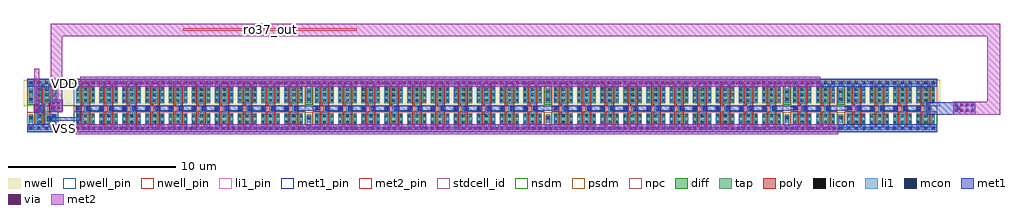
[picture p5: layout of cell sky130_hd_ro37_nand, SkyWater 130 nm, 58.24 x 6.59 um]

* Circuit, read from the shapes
.subckt sky130_hd_ro37_nand VDD VSS ro37_ena ro37_out
XM1 n1 ro37_ena VSS VSS sky130_fd_pr__nfet_01v8 w=0.65 l=0.15
XM2 sky130_hd_inv_1_6/A ro37_out n1 VSS sky130_fd_pr__nfet_01v8 w=0.65 l=0.15
XM3 sky130_hd_inv_1_7/A sky130_hd_inv_1_6/A VSS VSS sky130_fd_pr__nfet_01v8 w=0.65 l=0.15 m=2
XM4 sky130_hd_inv_1_8/A sky130_hd_inv_1_7/A VSS VSS sky130_fd_pr__nfet_01v8 w=0.65 l=0.15 m=2
XM5 sky130_hd_inv_1_9/A sky130_hd_inv_1_8/A VSS VSS sky130_fd_pr__nfet_01v8 w=0.65 l=0.15 m=2
XM6 sky130_hd_inv_1_10/A sky130_hd_inv_1_9/A VSS VSS sky130_fd_pr__nfet_01v8 w=0.65 l=0.15 m=2
XM7 sky130_hd_inv_1_11/A sky130_hd_inv_1_10/A VSS VSS sky130_fd_pr__nfet_01v8 w=0.65 l=0.15 m=2
XM8 sky130_hd_inv_1_12/A sky130_hd_inv_1_11/A VSS VSS sky130_fd_pr__nfet_01v8 w=0.65 l=0.15 m=2
XM9 sky130_hd_inv_1_13/A sky130_hd_inv_1_12/A VSS VSS sky130_fd_pr__nfet_01v8 w=0.65 l=0.15 m=2
XM10 sky130_hd_inv_1_14/A sky130_hd_inv_1_13/A VSS VSS sky130_fd_pr__nfet_01v8 w=0.65 l=0.15 m=2
XM11 sky130_hd_inv_1_15/A sky130_hd_inv_1_14/A VSS VSS sky130_fd_pr__nfet_01v8 w=0.65 l=0.15 m=2
XM12 sky130_hd_inv_1_16/A sky130_hd_inv_1_15/A VSS VSS sky130_fd_pr__nfet_01v8 w=0.65 l=0.15 m=2
XM13 sky130_hd_inv_1_17/A sky130_hd_inv_1_16/A VSS VSS sky130_fd_pr__nfet_01v8 w=0.65 l=0.15 m=2
XM14 sky130_hd_inv_1_18/A sky130_hd_inv_1_17/A VSS VSS sky130_fd_pr__nfet_01v8 w=0.65 l=0.15 m=2
XM15 sky130_hd_inv_1_19/A sky130_hd_inv_1_18/A VSS VSS sky130_fd_pr__nfet_01v8 w=0.65 l=0.15 m=2
XM16 sky130_hd_inv_1_20/A sky130_hd_inv_1_19/A VSS VSS sky130_fd_pr__nfet_01v8 w=0.65 l=0.15 m=2
XM17 sky130_hd_inv_1_21/A sky130_hd_inv_1_20/A VSS VSS sky130_fd_pr__nfet_01v8 w=0.65 l=0.15 m=2
XM18 sky130_hd_inv_1_22/A sky130_hd_inv_1_21/A VSS VSS sky130_fd_pr__nfet_01v8 w=0.65 l=0.15 m=2
XM19 sky130_hd_inv_1_23/A sky130_hd_inv_1_22/A VSS VSS sky130_fd_pr__nfet_01v8 w=0.65 l=0.15 m=2
XM20 sky130_hd_inv_1_24/A sky130_hd_inv_1_23/A VSS VSS sky130_fd_pr__nfet_01v8 w=0.65 l=0.15 m=2
XM21 sky130_hd_inv_1_25/A sky130_hd_inv_1_24/A VSS VSS sky130_fd_pr__nfet_01v8 w=0.65 l=0.15 m=2
XM22 sky130_hd_inv_1_26/A sky130_hd_inv_1_25/A VSS VSS sky130_fd_pr__nfet_01v8 w=0.65 l=0.15 m=2
XM23 sky130_hd_inv_1_27/A sky130_hd_inv_1_26/A VSS VSS sky130_fd_pr__nfet_01v8 w=0.65 l=0.15 m=2
XM24 sky130_hd_inv_1_28/A sky130_hd_inv_1_27/A VSS VSS sky130_fd_pr__nfet_01v8 w=0.65 l=0.15 m=2
XM25 sky130_hd_inv_1_29/A sky130_hd_inv_1_28/A VSS VSS sky130_fd_pr__nfet_01v8 w=0.65 l=0.15 m=2
XM26 sky130_hd_inv_1_30/A sky130_hd_inv_1_29/A VSS VSS sky130_fd_pr__nfet_01v8 w=0.65 l=0.15 m=2
XM27 sky130_hd_inv_1_31/A sky130_hd_inv_1_30/A VSS VSS sky130_fd_pr__nfet_01v8 w=0.65 l=0.15 m=2
XM28 sky130_hd_inv_1_32/A sky130_hd_inv_1_31/A VSS VSS sky130_fd_pr__nfet_01v8 w=0.65 l=0.15 m=2
XM29 sky130_hd_inv_1_33/A sky130_hd_inv_1_32/A VSS VSS sky130_fd_pr__nfet_01v8 w=0.65 l=0.15 m=2
XM30 sky130_hd_inv_1_34/A sky130_hd_inv_1_33/A VSS VSS sky130_fd_pr__nfet_01v8 w=0.65 l=0.15 m=2
XM31 sky130_hd_inv_1_35/A sky130_hd_inv_1_34/A VSS VSS sky130_fd_pr__nfet_01v8 w=0.65 l=0.15 m=2
XM32 sky130_hd_inv_1_36/A sky130_hd_inv_1_35/A VSS VSS sky130_fd_pr__nfet_01v8 w=0.65 l=0.15 m=2
XM33 sky130_hd_inv_1_37/A sky130_hd_inv_1_36/A VSS VSS sky130_fd_pr__nfet_01v8 w=0.65 l=0.15 m=2
XM34 sky130_hd_inv_1_38/A sky130_hd_inv_1_37/A VSS VSS sky130_fd_pr__nfet_01v8 w=0.65 l=0.15 m=2
XM35 sky130_hd_inv_1_39/A sky130_hd_inv_1_38/A VSS VSS sky130_fd_pr__nfet_01v8 w=0.65 l=0.15 m=2
XM36 sky130_hd_inv_1_40/A sky130_hd_inv_1_39/A VSS VSS sky130_fd_pr__nfet_01v8 w=0.65 l=0.15 m=2
XM37 sky130_hd_inv_1_41/A sky130_hd_inv_1_40/A VSS VSS sky130_fd_pr__nfet_01v8 w=0.65 l=0.15 m=2
XM38 ro37_out sky130_hd_inv_1_41/A VSS VSS sky130_fd_pr__nfet_01v8 w=0.65 l=0.15 m=2
XM39 sky130_hd_inv_1_6/A ro37_ena VDD VDD sky130_fd_pr__pfet_01v8 w=1 l=0.15
XM40 VDD ro37_out sky130_hd_inv_1_6/A VDD sky130_fd_pr__pfet_01v8 w=1 l=0.15
XM41 sky130_hd_inv_1_7/A sky130_hd_inv_1_6/A VDD VDD sky130_fd_pr__pfet_01v8 w=1 l=0.15 m=2
XM42 sky130_hd_inv_1_8/A sky130_hd_inv_1_7/A VDD VDD sky130_fd_pr__pfet_01v8 w=1 l=0.15 m=2
XM43 sky130_hd_inv_1_9/A sky130_hd_inv_1_8/A VDD VDD sky130_fd_pr__pfet_01v8 w=1 l=0.15 m=2
XM44 sky130_hd_inv_1_10/A sky130_hd_inv_1_9/A VDD VDD sky130_fd_pr__pfet_01v8 w=1 l=0.15 m=2
XM45 sky130_hd_inv_1_11/A sky130_hd_inv_1_10/A VDD VDD sky130_fd_pr__pfet_01v8 w=1 l=0.15 m=2
XM46 sky130_hd_inv_1_12/A sky130_hd_inv_1_11/A VDD VDD sky130_fd_pr__pfet_01v8 w=1 l=0.15 m=2
XM47 sky130_hd_inv_1_13/A sky130_hd_inv_1_12/A VDD VDD sky130_fd_pr__pfet_01v8 w=1 l=0.15 m=2
XM48 sky130_hd_inv_1_14/A sky130_hd_inv_1_13/A VDD VDD sky130_fd_pr__pfet_01v8 w=1 l=0.15 m=2
XM49 sky130_hd_inv_1_15/A sky130_hd_inv_1_14/A VDD VDD sky130_fd_pr__pfet_01v8 w=1 l=0.15 m=2
XM50 sky130_hd_inv_1_16/A sky130_hd_inv_1_15/A VDD VDD sky130_fd_pr__pfet_01v8 w=1 l=0.15 m=2
XM51 sky130_hd_inv_1_17/A sky130_hd_inv_1_16/A VDD VDD sky130_fd_pr__pfet_01v8 w=1 l=0.15 m=2
XM52 sky130_hd_inv_1_18/A sky130_hd_inv_1_17/A VDD VDD sky130_fd_pr__pfet_01v8 w=1 l=0.15 m=2
XM53 sky130_hd_inv_1_19/A sky130_hd_inv_1_18/A VDD VDD sky130_fd_pr__pfet_01v8 w=1 l=0.15 m=2
XM54 sky130_hd_inv_1_20/A sky130_hd_inv_1_19/A VDD VDD sky130_fd_pr__pfet_01v8 w=1 l=0.15 m=2
XM55 sky130_hd_inv_1_21/A sky130_hd_inv_1_20/A VDD VDD sky130_fd_pr__pfet_01v8 w=1 l=0.15 m=2
XM56 sky130_hd_inv_1_22/A sky130_hd_inv_1_21/A VDD VDD sky130_fd_pr__pfet_01v8 w=1 l=0.15 m=2
XM57 sky130_hd_inv_1_23/A sky130_hd_inv_1_22/A VDD VDD sky130_fd_pr__pfet_01v8 w=1 l=0.15 m=2
XM58 sky130_hd_inv_1_24/A sky130_hd_inv_1_23/A VDD VDD sky130_fd_pr__pfet_01v8 w=1 l=0.15 m=2
XM59 sky130_hd_inv_1_25/A sky130_hd_inv_1_24/A VDD VDD sky130_fd_pr__pfet_01v8 w=1 l=0.15 m=2
XM60 sky130_hd_inv_1_26/A sky130_hd_inv_1_25/A VDD VDD sky130_fd_pr__pfet_01v8 w=1 l=0.15 m=2
XM61 sky130_hd_inv_1_27/A sky130_hd_inv_1_26/A VDD VDD sky130_fd_pr__pfet_01v8 w=1 l=0.15 m=2
XM62 sky130_hd_inv_1_28/A sky130_hd_inv_1_27/A VDD VDD sky130_fd_pr__pfet_01v8 w=1 l=0.15 m=2
XM63 sky130_hd_inv_1_29/A sky130_hd_inv_1_28/A VDD VDD sky130_fd_pr__pfet_01v8 w=1 l=0.15 m=2
XM64 sky130_hd_inv_1_30/A sky130_hd_inv_1_29/A VDD VDD sky130_fd_pr__pfet_01v8 w=1 l=0.15 m=2
XM65 sky130_hd_inv_1_31/A sky130_hd_inv_1_30/A VDD VDD sky130_fd_pr__pfet_01v8 w=1 l=0.15 m=2
XM66 sky130_hd_inv_1_32/A sky130_hd_inv_1_31/A VDD VDD sky130_fd_pr__pfet_01v8 w=1 l=0.15 m=2
XM67 sky130_hd_inv_1_33/A sky130_hd_inv_1_32/A VDD VDD sky130_fd_pr__pfet_01v8 w=1 l=0.15 m=2
XM68 sky130_hd_inv_1_34/A sky130_hd_inv_1_33/A VDD VDD sky130_fd_pr__pfet_01v8 w=1 l=0.15 m=2
XM69 sky130_hd_inv_1_35/A sky130_hd_inv_1_34/A VDD VDD sky130_fd_pr__pfet_01v8 w=1 l=0.15 m=2
XM70 sky130_hd_inv_1_36/A sky130_hd_inv_1_35/A VDD VDD sky130_fd_pr__pfet_01v8 w=1 l=0.15 m=2
XM71 sky130_hd_inv_1_37/A sky130_hd_inv_1_36/A VDD VDD sky130_fd_pr__pfet_01v8 w=1 l=0.15 m=2
XM72 sky130_hd_inv_1_38/A sky130_hd_inv_1_37/A VDD VDD sky130_fd_pr__pfet_01v8 w=1 l=0.15 m=2
XM73 sky130_hd_inv_1_39/A sky130_hd_inv_1_38/A VDD VDD sky130_fd_pr__pfet_01v8 w=1 l=0.15 m=2
XM74 sky130_hd_inv_1_40/A sky130_hd_inv_1_39/A VDD VDD sky130_fd_pr__pfet_01v8 w=1 l=0.15 m=2
XM75 sky130_hd_inv_1_41/A sky130_hd_inv_1_40/A VDD VDD sky130_fd_pr__pfet_01v8 w=1 l=0.15 m=2
XM76 ro37_out sky130_hd_inv_1_41/A VDD VDD sky130_fd_pr__pfet_01v8 w=1 l=0.15 m=2
.ends

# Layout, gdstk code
import gdstk
lib = gdstk.Library(unit=1e-6, precision=1e-09)
def R(c, l, rs):  # rectangles x0, y0, x1, y1
    for r in rs: c.add(gdstk.rectangle(r[:2], r[2:], *l))
def A(c, l, x, y, w, h, nx, ny, dx, dy):  # array of equal rectangles
    R(c, l, [(x+i*dx, y+j*dy, x+i*dx+w, y+j*dy+h) for i in range(nx) for j in range(ny)])
def P(c, l, *ps):  # polygons
    for p in ps: c.add(gdstk.Polygon(p, *l))
nwell_pin = (64, 16)
nwell = (64, 20)
diff = (65, 20)
tap = (65, 44)
poly = (66, 20)
licon = (66, 44)
li1_pin = (67, 16)
li1 = (67, 20)
mcon = (67, 44)
met1_pin = (68, 16)
met1 = (68, 20)
via = (68, 44)
met2_pin = (69, 16)
met2 = (69, 20)
stdcell_id = (81, 4)
nsdm = (93, 44)
psdm = (94, 20)
npc = (95, 20)
pwell_pin = (122, 16)

sky130_hd_tapvpwrvgnd_1 = lib.new_cell('sky130_hd_tapvpwrvgnd_1')
R(sky130_hd_tapvpwrvgnd_1, nwell, [(-0.19,1.305,0.65,2.91)])
R(sky130_hd_tapvpwrvgnd_1, tap, [(0.145,0.32,0.315,0.845), (0.145,1.525,0.315,2.4)])
R(sky130_hd_tapvpwrvgnd_1, licon, [(0.145,0.555,0.315,0.725), (0.145,1.645,0.315,1.815), (0.145,2.11,0.315,2.28)])
R(sky130_hd_tapvpwrvgnd_1, li1, [(0,-0.085,0.46,0.085), (0.085,0,0.375,0.81), (0.085,1.49,0.375,2.72), (0,2.635,0.46,2.805)])
R(sky130_hd_tapvpwrvgnd_1, mcon, [(0.145,-0.085,0.315,0.085), (0.145,2.635,0.315,2.805)])
R(sky130_hd_tapvpwrvgnd_1, met1_pin, [(0.105,-0.09,0.36,0.1), (0.11,2.62,0.375,2.765)])
R(sky130_hd_tapvpwrvgnd_1, met1, [(0,-0.24,0.46,0.24), (0,2.48,0.46,2.96)])
R(sky130_hd_tapvpwrvgnd_1, stdcell_id, [(0,0,0.46,2.72)])
R(sky130_hd_tapvpwrvgnd_1, nsdm, [(0,-0.19,0.46,0.19), (0,1.395,0.46,2.53)])
R(sky130_hd_tapvpwrvgnd_1, psdm, [(0,0.19,0.46,0.975), (0,2.53,0.46,2.91)])
sky130_hd_tapvpwrvgnd_1.add(gdstk.Label('VPWR', (0.23,2.72), layer=68, texttype=5))
sky130_hd_tapvpwrvgnd_1.add(gdstk.Label('VGND', (0.23,0), layer=68, texttype=5))

sky130_hd_nand2_1 = lib.new_cell('sky130_hd_nand2_1')
R(sky130_hd_nand2_1, nwell_pin, [(0.14,2.635,0.31,2.805)])
R(sky130_hd_nand2_1, nwell, [(-0.19,1.305,1.57,2.91)])
R(sky130_hd_nand2_1, diff, [(0.155,0.235,1.245,0.885), (0.155,1.485,1.245,2.485)])
P(sky130_hd_nand2_1, poly, [(0.415,0.105),(0.415,0.995),(0.105,0.995),(0.105,1.325),(0.415,1.325),(0.415,2.615),(0.565,2.615),(0.565,0.105)],
  [(0.835,0.105),(0.835,2.615),(0.985,2.615),(0.985,1.325),(1.275,1.325),(1.275,0.995),(0.985,0.995),(0.985,0.105)])
A(sky130_hd_nand2_1, licon, 0.195, 1.575, 0.17, 0.17, 3, 3, 0.42, 0.34)
R(sky130_hd_nand2_1, licon, [(0.195,0.295,0.365,0.465), (1.035,0.295,1.205,0.465), (0.195,0.635,0.365,0.805), (1.035,0.635,1.205,0.805), (0.18,1.075,0.35,1.245), (1.02,1.075,1.19,1.245)])
A(sky130_hd_nand2_1, li1_pin, 0.14, 1.105, 0.17, 0.17, 3, 1, 0.46, 0)
R(sky130_hd_nand2_1, li1_pin, [(0.6,0.425,0.77,0.595), (0.6,0.765,0.77,0.935)])
R(sky130_hd_nand2_1, li1, [(0.095,1.055,0.43,1.325), (0.94,1.075,1.275,1.325)])
P(sky130_hd_nand2_1, li1, [(0.6,0.255),(0.6,1.485),(0.535,1.485),(0.535,2.465),(0.865,2.465),(0.865,1.485),(0.77,1.485),(0.77,0.885),(1.295,0.885),(1.295,0.255)],
  [(0.085,1.495),(0.085,2.635),(0,2.635),(0,2.805),(1.38,2.805),(1.38,2.635),(1.295,2.635),(1.295,1.495),(1.035,1.495),(1.035,2.635),(0.365,2.635),(0.365,1.495)],
  [(0,-0.085),(0,0.085),(0.085,0.085),(0.085,0.885),(0.395,0.885),(0.395,0.085),(1.38,0.085),(1.38,-0.085)])
A(sky130_hd_nand2_1, mcon, 0.145, -0.085, 0.17, 0.17, 3, 2, 0.46, 2.72)
R(sky130_hd_nand2_1, met1_pin, [(0.14,-0.085,0.31,0.085), (0.14,2.635,0.31,2.805)])
R(sky130_hd_nand2_1, stdcell_id, [(0,0,1.38,2.72)])
R(sky130_hd_nand2_1, nsdm, [(0,-0.19,1.38,1.015)])
R(sky130_hd_nand2_1, psdm, [(0,1.355,1.38,2.91)])
R(sky130_hd_nand2_1, npc, [(0,0.975,1.38,1.345)])
R(sky130_hd_nand2_1, pwell_pin, [(0.14,-0.085,0.31,0.085)])
sky130_hd_nand2_1.add(gdstk.FlexPath([(0,0),(1.38,0)], 0.48, ends="flush", simple_path=True, layer=68, datatype=20))  # met1
sky130_hd_nand2_1.add(gdstk.FlexPath([(0,2.72),(1.38,2.72)], 0.48, ends="flush", simple_path=True, layer=68, datatype=20))  # met1
sky130_hd_nand2_1.add(gdstk.Label('VPWR', (0.225,2.72), layer=68, texttype=5))
sky130_hd_nand2_1.add(gdstk.Label('VGND', (0.23,0), layer=68, texttype=5))
sky130_hd_nand2_1.add(gdstk.Label('A', (1.145,1.19), layer=67, texttype=5))
sky130_hd_nand2_1.add(gdstk.Label('B', (0.225,1.19), layer=67, texttype=5))
sky130_hd_nand2_1.add(gdstk.Label('Y', (0.685,0.51), layer=67, texttype=5))
sky130_hd_nand2_1.add(gdstk.Label('Y', (0.685,0.85), layer=67, texttype=5))
sky130_hd_nand2_1.add(gdstk.Label('Y', (0.685,1.19), layer=67, texttype=5))
sky130_hd_nand2_1.add(gdstk.Label('VNB', (0.225,0), layer=64, texttype=59))
sky130_hd_nand2_1.add(gdstk.Label('VPB', (0.225,2.72), layer=64, texttype=5))

sky130_hd_inv_1 = lib.new_cell('sky130_hd_inv_1')
R(sky130_hd_inv_1, nwell_pin, [(0.145,2.635,0.315,2.805)])
R(sky130_hd_inv_1, nwell, [(-0.19,1.305,1.57,2.91)])
R(sky130_hd_inv_1, diff, [(0.145,0.235,1.235,0.885), (0.145,1.485,1.235,2.485)])
P(sky130_hd_inv_1, poly, [(0.405,0.105),(0.405,0.995),(0.105,0.995),(0.105,1.325),(0.405,1.325),(0.405,2.615),(0.555,2.615),(0.555,1.325),(0.825,1.325),(0.825,2.615),(0.975,2.615),(0.975,0.105),(0.825,0.105),(0.825,0.995),(0.555,0.995),(0.555,0.105)])
A(sky130_hd_inv_1, licon, 0.185, 0.295, 0.17, 0.17, 3, 2, 0.42, 0.36)
A(sky130_hd_inv_1, licon, 0.185, 1.575, 0.17, 0.17, 3, 3, 0.42, 0.34)
R(sky130_hd_inv_1, licon, [(0.185,1.075,0.355,1.245)])
R(sky130_hd_inv_1, li1_pin, [(0.605,0.765,0.775,0.935), (0.145,1.105,0.315,1.275), (0.615,1.105,0.785,1.275), (0.605,1.445,0.775,1.615)])
R(sky130_hd_inv_1, li1, [(0.105,1.075,0.435,1.325), (0.855,1.075,1.035,1.325)])
P(sky130_hd_inv_1, li1, [(0,-0.085),(0,0.085),(0.125,0.085),(0.125,0.905),(0.355,0.905),(0.355,0.085),(1.025,0.085),(1.025,0.905),(1.235,0.905),(1.235,0.085),(1.38,0.085),(1.38,-0.085)],
  [(0.125,1.495),(0.125,2.635),(0,2.635),(0,2.805),(1.38,2.805),(1.38,2.635),(1.235,2.635),(1.235,1.495),(1.025,1.495),(1.025,2.635),(0.355,2.635),(0.355,1.495)],
  [(0.525,0.255),(0.525,0.885),(0.605,0.885),(0.605,1.485),(0.525,1.485),(0.525,2.465),(0.855,2.465),(0.855,0.255)])
A(sky130_hd_inv_1, mcon, 0.145, -0.085, 0.17, 0.17, 3, 2, 0.46, 2.72)
R(sky130_hd_inv_1, mcon, [(0.16,1.105,0.33,1.275), (0.8,1.105,0.97,1.275)])
R(sky130_hd_inv_1, met1_pin, [(0.145,-0.085,0.315,0.085), (0.145,2.635,0.315,2.805)])
R(sky130_hd_inv_1, met1, [(0.725,1.055,1.79,1.335)])
R(sky130_hd_inv_1, stdcell_id, [(0,0,1.38,2.72)])
R(sky130_hd_inv_1, nsdm, [(0,-0.19,1.38,1.015)])
R(sky130_hd_inv_1, psdm, [(0,1.355,1.38,2.91)])
R(sky130_hd_inv_1, npc, [(0,0.975,1.38,1.345)])
R(sky130_hd_inv_1, pwell_pin, [(0.145,-0.085,0.315,0.085)])
sky130_hd_inv_1.add(gdstk.FlexPath([(0,0),(1.38,0)], 0.48, ends="flush", simple_path=True, layer=68, datatype=20))  # met1
sky130_hd_inv_1.add(gdstk.FlexPath([(0,2.72),(1.38,2.72)], 0.48, ends="flush", simple_path=True, layer=68, datatype=20))  # met1
sky130_hd_inv_1.add(gdstk.Label('VGND', (0.23,0), layer=68, texttype=5))
sky130_hd_inv_1.add(gdstk.Label('VPWR', (0.23,2.72), layer=68, texttype=5))
sky130_hd_inv_1.add(gdstk.Label('A', (0.23,1.19), layer=67, texttype=5))
sky130_hd_inv_1.add(gdstk.Label('Y', (0.69,0.85), layer=67, texttype=5))
sky130_hd_inv_1.add(gdstk.Label('Y', (0.7,1.195), layer=67, texttype=5))
sky130_hd_inv_1.add(gdstk.Label('Y', (0.69,1.53), layer=67, texttype=5))
sky130_hd_inv_1.add(gdstk.Label('VNB', (0.23,0), layer=64, texttype=59))
sky130_hd_inv_1.add(gdstk.Label('VPB', (0.23,2.72), layer=64, texttype=5))

sky130_hd_ro37_nand = lib.new_cell('sky130_hd_ro37_nand')
R(sky130_hd_ro37_nand, nwell, [(-1.435,1.255,-0.225,2.86)])
R(sky130_hd_ro37_nand, li1, [(52.105,1.025,52.45,1.275)])
R(sky130_hd_ro37_nand, mcon, [(-1.915,0.435,-1.745,0.605), (-2.62,1.055,-2.45,1.225), (52.23,1.06,52.4,1.23), (-1.77,1.095,-1.6,1.265)])
R(sky130_hd_ro37_nand, met1_pin, [(-1.255,-0.185,-0.675,0.1), (-1.21,2.56,-0.68,2.8)])
R(sky130_hd_ro37_nand, met1, [(-1.46,-0.29,-0.42,0.19), (-2.035,0.36,-1.525,0.68), (50.415,0.77,52.075,1.51), (52.065,0.77,53.33,1.51), (-2.835,0.87,-2.265,1.35), (-1.915,0.965,-1.415,1.36), (-1.445,0.965,-1.12,1.645), (-0.35,0.98,0.01,1.29), (52.015,0.985,53.16,1.29), (52.035,1.01,53.18,1.315), (13.76,1.025,14.235,1.275), (28.02,1.025,28.5,1.275), (42.28,1.025,42.76,1.275), (45.5,1.025,45.97,1.275), (-1.915,1.345,-1.415,1.645), (-1.465,2.43,-0.37,2.91)])
A(sky130_hd_ro37_nand, via, -0.275, -0.125, 0.15, 0.15, 70, 1, 0.32, 0)
A(sky130_hd_ro37_nand, via, 22.465, -0.125, 0.15, 0.15, 71, 1, 0.32, 0)
A(sky130_hd_ro37_nand, via, 52.125, 0.945, 0.15, 0.15, 3, 2, 0.32, 0.32)
A(sky130_hd_ro37_nand, via, 0.01, 2.595, 0.15, 0.15, 69, 1, 0.32, 0)
A(sky130_hd_ro37_nand, via, 22.43, 2.595, 0.15, 0.15, 68, 1, 0.32, 0)
R(sky130_hd_ro37_nand, via, [(53.095,0.945,53.245,1.095), (-2.725,0.96,-2.575,1.11), (-1.755,1.08,-1.605,1.23), (-1.435,1.08,-1.285,1.23), (53.095,1.265,53.245,1.415), (-2.725,1.28,-2.575,1.43), (-1.755,1.4,-1.605,1.55), (-1.435,1.4,-1.285,1.55)])
R(sky130_hd_ro37_nand, met2_pin, [(-2.72,1.025,-2.595,2.465)])
P(sky130_hd_ro37_nand, met2_pin, [(6.08,5.78),(6.08,5.915),(10.865,5.915),(11.08,5.915),(16.415,5.915),(16.415,5.78)])
R(sky130_hd_ro37_nand, met2, [(-0.35,-0.4,45.165,0.19), (52.035,0.8,53.01,1.48), (-1.84,0.92,-1.145,5.915), (-0.08,2.43,44.09,3.02)])
R(sky130_hd_ro37_nand, psdm, [(-1.63,1.305,-0.325,2.86)])
sky130_hd_ro37_nand.add(gdstk.FlexPath([(-1.87,0.505),(-0.18,0.505),(-0.18,1.2)], 0.2, ends="flush", simple_path=True, layer=68, datatype=20))  # met1
sky130_hd_ro37_nand.add(gdstk.FlexPath([(-2.67,3.52),(-2.67,0.85)], 0.3, ends="flush", simple_path=True, layer=69, datatype=20))  # met2
sky130_hd_ro37_nand.add(gdstk.FlexPath([(-1.84,5.815),(54.44,5.815),(54.44,1.15),(52.025,1.15)], 0.75, ends="flush", simple_path=True, layer=69, datatype=20))  # met2
sky130_hd_ro37_nand.add(gdstk.Reference(sky130_hd_tapvpwrvgnd_1, (-3.24,-0.05)))
sky130_hd_ro37_nand.add(gdstk.Reference(sky130_hd_tapvpwrvgnd_1, (13.35,-0.05)))
sky130_hd_ro37_nand.add(gdstk.Reference(sky130_hd_tapvpwrvgnd_1, (27.61,-0.05)))
sky130_hd_ro37_nand.add(gdstk.Reference(sky130_hd_tapvpwrvgnd_1, (41.87,-0.05)))
sky130_hd_ro37_nand.add(gdstk.Reference(sky130_hd_tapvpwrvgnd_1, (45.09,-0.05)))
sky130_hd_ro37_nand.add(gdstk.Reference(sky130_hd_nand2_1, (-2.78,-0.05)))
sky130_hd_ro37_nand.add(gdstk.Reference(sky130_hd_inv_1, (-0.45,-0.05)))
sky130_hd_ro37_nand.add(gdstk.Reference(sky130_hd_inv_1, (0.93,-0.05)))
sky130_hd_ro37_nand.add(gdstk.Reference(sky130_hd_inv_1, (2.31,-0.05)))
sky130_hd_ro37_nand.add(gdstk.Reference(sky130_hd_inv_1, (3.69,-0.05)))
sky130_hd_ro37_nand.add(gdstk.Reference(sky130_hd_inv_1, (5.07,-0.05)))
sky130_hd_ro37_nand.add(gdstk.Reference(sky130_hd_inv_1, (6.45,-0.05)))
sky130_hd_ro37_nand.add(gdstk.Reference(sky130_hd_inv_1, (7.83,-0.05)))
sky130_hd_ro37_nand.add(gdstk.Reference(sky130_hd_inv_1, (9.21,-0.05)))
sky130_hd_ro37_nand.add(gdstk.Reference(sky130_hd_inv_1, (10.59,-0.05)))
sky130_hd_ro37_nand.add(gdstk.Reference(sky130_hd_inv_1, (11.97,-0.05)))
sky130_hd_ro37_nand.add(gdstk.Reference(sky130_hd_inv_1, (13.81,-0.05)))
sky130_hd_ro37_nand.add(gdstk.Reference(sky130_hd_inv_1, (15.19,-0.05)))
sky130_hd_ro37_nand.add(gdstk.Reference(sky130_hd_inv_1, (16.57,-0.05)))
sky130_hd_ro37_nand.add(gdstk.Reference(sky130_hd_inv_1, (17.95,-0.05)))
sky130_hd_ro37_nand.add(gdstk.Reference(sky130_hd_inv_1, (19.33,-0.05)))
sky130_hd_ro37_nand.add(gdstk.Reference(sky130_hd_inv_1, (20.71,-0.05)))
sky130_hd_ro37_nand.add(gdstk.Reference(sky130_hd_inv_1, (22.09,-0.05)))
sky130_hd_ro37_nand.add(gdstk.Reference(sky130_hd_inv_1, (23.47,-0.05)))
sky130_hd_ro37_nand.add(gdstk.Reference(sky130_hd_inv_1, (24.85,-0.05)))
sky130_hd_ro37_nand.add(gdstk.Reference(sky130_hd_inv_1, (26.23,-0.05)))
sky130_hd_ro37_nand.add(gdstk.Reference(sky130_hd_inv_1, (28.07,-0.05)))
sky130_hd_ro37_nand.add(gdstk.Reference(sky130_hd_inv_1, (29.45,-0.05)))
sky130_hd_ro37_nand.add(gdstk.Reference(sky130_hd_inv_1, (30.83,-0.05)))
sky130_hd_ro37_nand.add(gdstk.Reference(sky130_hd_inv_1, (32.21,-0.05)))
sky130_hd_ro37_nand.add(gdstk.Reference(sky130_hd_inv_1, (33.59,-0.05)))
sky130_hd_ro37_nand.add(gdstk.Reference(sky130_hd_inv_1, (34.97,-0.05)))
sky130_hd_ro37_nand.add(gdstk.Reference(sky130_hd_inv_1, (36.35,-0.05)))
sky130_hd_ro37_nand.add(gdstk.Reference(sky130_hd_inv_1, (37.73,-0.05)))
sky130_hd_ro37_nand.add(gdstk.Reference(sky130_hd_inv_1, (39.11,-0.05)))
sky130_hd_ro37_nand.add(gdstk.Reference(sky130_hd_inv_1, (40.49,-0.05)))
sky130_hd_ro37_nand.add(gdstk.Reference(sky130_hd_inv_1, (42.33,-0.05)))
sky130_hd_ro37_nand.add(gdstk.Reference(sky130_hd_inv_1, (43.71,-0.05)))
sky130_hd_ro37_nand.add(gdstk.Reference(sky130_hd_inv_1, (45.55,-0.05)))
sky130_hd_ro37_nand.add(gdstk.Reference(sky130_hd_inv_1, (46.93,-0.05)))
sky130_hd_ro37_nand.add(gdstk.Reference(sky130_hd_inv_1, (48.31,-0.05)))
sky130_hd_ro37_nand.add(gdstk.Reference(sky130_hd_inv_1, (49.69,-0.05)))
sky130_hd_ro37_nand.add(gdstk.Label('VSS', (-1.025,-0.055), layer=68, texttype=5))
sky130_hd_ro37_nand.add(gdstk.Label('VDD', (-0.995,2.65), layer=68, texttype=5))
sky130_hd_ro37_nand.add(gdstk.Label('ro37_ena', (-2.63,1.815), layer=69, texttype=5))
sky130_hd_ro37_nand.add(gdstk.Label('ro37_out', (11.26,5.825), layer=69, texttype=5))

lib.write_gds('sky130_hd_ro37_nand.gds')
